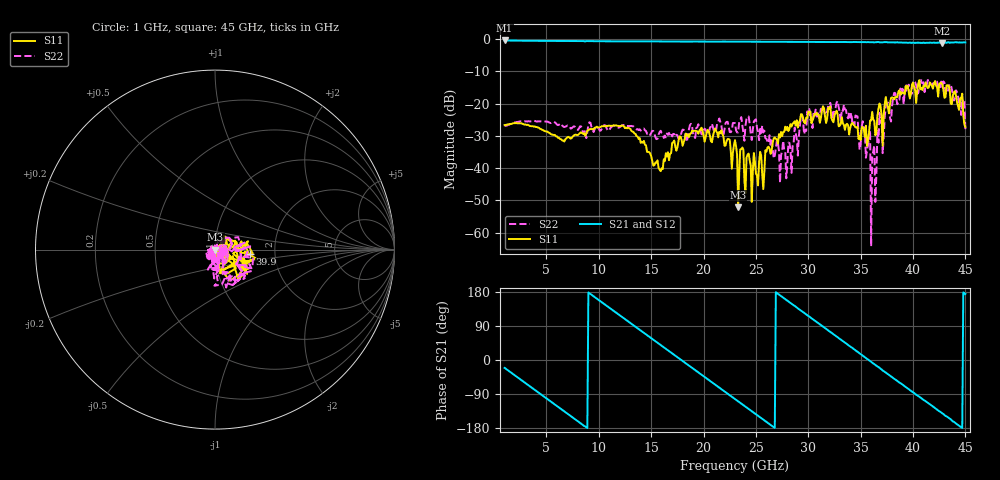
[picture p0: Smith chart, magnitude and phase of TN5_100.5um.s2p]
!Keysight Technologies,N5247B,MY61255062,A.19.80.06
!Date: Monday, May 18, 2026 12:56:12
!Correction: S11(Cdelta 2-Port  )
!S21(Cdelta 2-Port  )
!S12(Cdelta 2-Port  )
!S22(Cdelta 2-Port  )
!S2P File: Measurements: S11, S21, S12, S22:
# Hz S  dB  R 50
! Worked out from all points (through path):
!   441 points, 1 GHz to 45 GHz, reference 50 ohm
!   highest |S21| = -0.40 dB at 1 GHz (marker M1); lowest = -1.3 dB at 42.8 GHz (marker M2)
!   group delay of S21, straight-line fit = 55.8 ps
!   lowest |S11| = -52.1 dB at 23.3 GHz (marker M3), VSWR 1.00, Z = 50.2 - j0.0512 ohm
!   |S11| at or under -10 dB: start of sweep to end of sweep
!   |S22| runs from -64.2 to -12.4 dB; largest |S21 - S12| = 0.018
!   S11 on the Smith chart (normalised r, x): 1 GHz: 1.10, -0.02; 39.9 GHz: 1.48, -0.08; 45 GHz: 1.07, -0.06
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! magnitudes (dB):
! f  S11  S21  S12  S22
! 1 GHz  -26.6  -0.4  -0.4  -26.9
! 8.4 GHz  -29.1  -0.6  -0.6  -27.8
! 12.8 GHz  -27.4  -0.7  -0.7  -27.0
! 15.7 GHz  -39.9  -0.7  -0.7  -29.6
! 19.1 GHz  -28.4  -0.7  -0.7  -30.2
! 23 GHz  -31.3  -0.8  -0.8  -26.0
! 23.3 GHz  -52.1  -0.8  -0.8  -28.9
! 23.6 GHz  -34.1  -0.8  -0.8  -24.2
! 25.7 GHz  -46.5  -0.8  -0.8  -28.9
! 27.9 GHz  -28.1  -0.9  -0.8  -43.1
! 29.3 GHz  -23.2  -0.8  -0.8  -23.7
! 30.4 GHz  -25.2  -0.8  -0.9  -27.5
! 32.7 GHz  -22.2  -0.9  -0.9  -19.7
! 34.5 GHz  -27.3  -0.9  -0.9  -23.7
! 35.7 GHz  -31.3  -0.9  -0.9  -32.8
! 36.2 GHz  -24.9  -1.0  -1.0  -34.6
! 36.8 GHz  -19.9  -1.0  -0.9  -22.8
! 37.7 GHz  -23.0  -1.0  -1.0  -20.8
! 39.9 GHz  -14.1  -1.2  -1.1  -16.9
! 42.8 GHz  -14.1  -1.3  -1.1  -14.3
! 44.6 GHz  -18.4  -1.0  -1.0  -23.5
! 45 GHz  -27.2  -1.0  -1.0  -28.3
